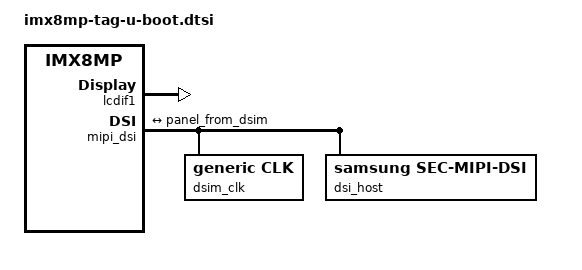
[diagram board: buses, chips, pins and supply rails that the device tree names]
// SPDX-License-Identifier: GPL-2.0+
/*
 * Copyright 2025 Ezurio LLC
 */
#include "imx8mp-u-boot.dtsi"

/ {
	wdt-reboot {
		compatible = "wdt-reboot";
		wdt = <&wdog1>;
		u-boot,dm-spl;
	};
};

&{/soc@0} {
	u-boot,dm-pre-reloc;
	u-boot,dm-spl;
};

&aips1 {
	u-boot,dm-spl;
	u-boot,dm-pre-reloc;
};

&aips2 {
	u-boot,dm-spl;
};

&aips3 {
	u-boot,dm-spl;
};

&clk {
	u-boot,dm-spl;
	u-boot,dm-pre-reloc;
};

&eqos {
	/delete-property/ assigned-clocks;
	/delete-property/ assigned-clock-parents;
	/delete-property/ assigned-clock-rates;
};

&gpio1 {
	u-boot,dm-spl;
};

&gpio2 {
	u-boot,dm-spl;
};

&gpio3 {
	u-boot,dm-spl;
};

&gpio4 {
	u-boot,dm-spl;
};

&gpio5 {
	u-boot,dm-spl;
};

&i2c1 {
	u-boot,dm-spl;
};

&i2c2 {
	u-boot,dm-spl;
};

&i2c3 {
	u-boot,dm-spl;
};

&i2c4 {
	u-boot,dm-spl;
};

&i2c5 {
	u-boot,dm-spl;
};

&i2c6 {
	u-boot,dm-spl;
};

&iomuxc {
	u-boot,dm-spl;
};

&lcdif1 {
	display = <&fb_mipi>;
	status = "okay";
};

&mipi_dsi {
	fb_mipi: panel@0 {
		bits-per-pixel = <24>;
		bus-width = <24>;
		clocks = <&dsim_clk 0>,
			 <&clk IMX8MP_CLK_MEDIA_DISP1_PIX_ROOT>;

		port@1 {
			panel_from_dsim: endpoint {
				remote-endpoint = <&dsim_to_panel>;
			};
		};
	};

	dsim_clk: dsim-clk {
		#clock-cells = <1>;
		#size-cells = <0>;
		compatible = "generic,clk";
		clocks = <&clk IMX8MP_CLK_MEDIA_MIPI_PHY1_REF>;
		clock-names = "parent";
		clock-output-names = "dsim-clk";
		status = "okay";
	};

	dsi_host: dsi-host {
		compatible = "samsung,sec-mipi-dsi";
		clocks = <&dsim_clk 0>,
			<&clk IMX8MP_CLK_MEDIA_APB_ROOT>,
			<&clk IMX8MP_CLK_MEDIA_MIPI_PHY1_REF>,
			<&clk IMX8MP_CLK_MEDIA_DISP1_PIX_ROOT>;
		clock-names = "dsim-clk", "cfg", "pll-ref", "pixel_clock";
		status = "okay";
	};

	port@1 {
		dsim_to_panel: endpoint {
			remote-endpoint = <&panel_from_dsim>;
		};
	};
};

&osc_32k {
	u-boot,dm-spl;
	u-boot,dm-pre-reloc;
};

&osc_24m {
	u-boot,dm-spl;
	u-boot,dm-pre-reloc;
};

&pinctrl_uart2 {
	u-boot,dm-spl;
};

&pinctrl_usdhc1 {
	u-boot,dm-spl;
};

&pinctrl_usdhc1_100mhz {
	u-boot,dm-spl;
};

&pinctrl_usdhc1_200mhz {
	u-boot,dm-spl;
};

&reg_vref_3v3 {
	u-boot,dm-spl;
};

&uart2 {
	u-boot,dm-spl;
};

&usdhc1 {
	cap-mmc-highspeed;
	mmc-ddr-1_8v;
	mmc-hs200-1_8v;
	u-boot,dm-spl;
};

&wdog1 {
	u-boot,dm-spl;
};
